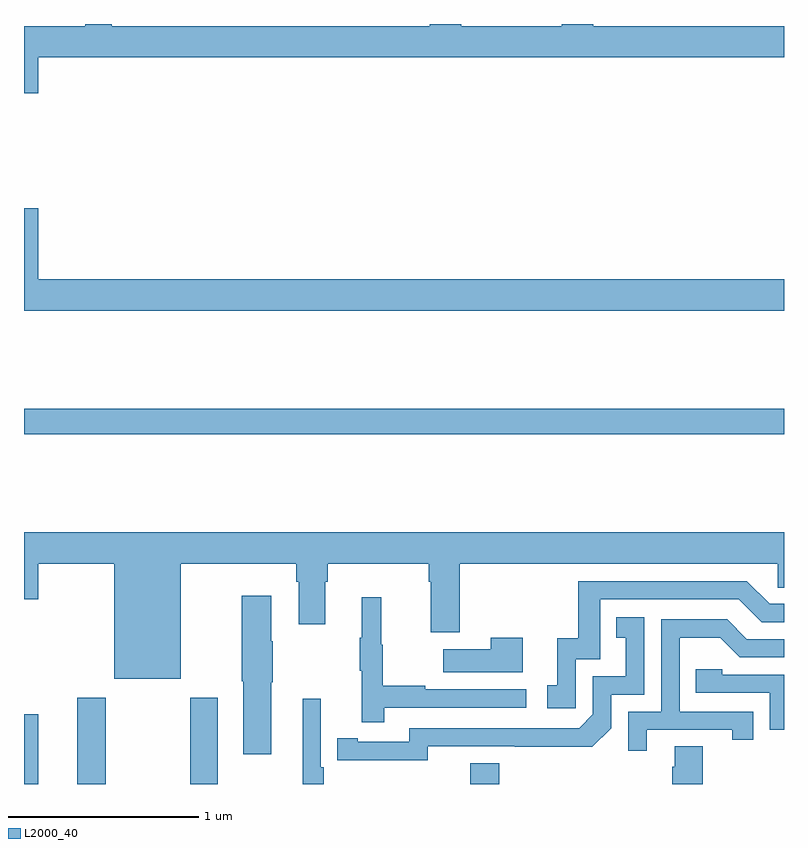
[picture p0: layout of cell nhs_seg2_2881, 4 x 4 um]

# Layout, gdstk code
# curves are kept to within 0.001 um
import gdstk
lib = gdstk.Library(unit=1e-6, precision=1e-09)
def R(c, l, rs):  # rectangles x0, y0, x1, y1
    for r in rs: c.add(gdstk.rectangle(r[:2], r[2:], *l))
def P(c, l, *ps):  # polygons
    for p in ps: c.add(gdstk.Polygon(p, *l))
L2000_40 = (2000, 40)

nhs_seg2_2881 = lib.new_cell('nhs_seg2_2881')
R(nhs_seg2_2881, L2000_40, [(261,655.8,261.076,656.167), (261.281,655.8,261.429,656.254), (261.874,655.8,262.021,656.254), (263.348,655.8,263.501,655.909), (261,657.64,265,657.776)])
P(nhs_seg2_2881, L2000_40, [(261.076,659.624),(265,659.624),(265,659.788),(263.996,659.788),(263.996,659.8),(263.831,659.8),(263.831,659.788),(263.3,659.788),(263.3,659.8),(263.135,659.8),(263.135,659.788),(261.462,659.788),(261.462,659.8),(261.323,659.8),(261.323,659.788),(261,659.788),(261,659.436),(261.076,659.436)],
  [(265,658.456),(261.076,658.456),(261.076,658.831),(261,658.831),(261,658.292),(265,658.292)],
  [(261.826,656.96),(262.433,656.96),(262.433,656.864),(262.445,656.864),(262.445,656.64),(262.585,656.64),(262.585,656.864),(262.598,656.864),(262.598,656.96),(263.129,656.96),(263.129,656.864),(263.141,656.864),(263.141,656.598),(263.294,656.598),(263.294,656.96),(264.966,656.96),(264.966,656.833),(265,656.833),(265,657.124),(261,657.124),(261,656.772),(261.076,656.772),(261.076,656.96),(261.476,656.96),(261.476,656.354),(261.826,656.354)],
  [(263.904,656.457),(264.033,656.457),(264.033,656.772),(264.762,656.772),(264.882,656.652),(265,656.652),(265,656.748),(264.924,656.748),(264.804,656.868),(263.917,656.868),(263.917,656.566),(263.807,656.566),(263.807,656.319),(263.754,656.319),(263.754,656.199),(263.904,656.199)],
  [(262.3,656.335),(262.308,656.335),(262.308,656.552),(262.3,656.552),(262.3,656.791),(262.147,656.791),(262.147,656.341),(262.154,656.341),(262.154,655.956),(262.3,655.956)],
  [(262.895,656.202),(263.644,656.202),(263.644,656.298),(263.111,656.298),(263.111,656.318),(262.888,656.318),(262.888,656.532),(262.88,656.532),(262.88,656.782),(262.778,656.782),(262.778,656.569),(262.767,656.569),(262.767,656.395),(262.778,656.395),(262.778,656.124),(262.895,656.124)],
  [(263.124,655.998),(263.992,655.997),(264.09,656.094),(264.09,656.271),(264.264,656.271),(264.264,656.677),(264.118,656.677),(264.118,656.571),(264.167,656.571),(264.167,656.367),(263.994,656.367),(263.994,656.166),(263.922,656.094),(263.028,656.094),(263.028,656.022),(262.756,656.022),(262.756,656.042),(262.648,656.042),(262.648,655.926),(263.124,655.925)],
  [(264.277,656.085),(264.728,656.085),(264.728,656.034),(264.839,656.034),(264.839,656.181),(264.45,656.181),(264.45,656.57),(264.664,656.57),(264.768,656.466),(265,656.466),(265,656.562),(264.805,656.562),(264.7,656.667),(264.354,656.667),(264.354,656.181),(264.18,656.181),(264.18,655.974),(264.277,655.974)],
  [(263.626,656.569),(263.456,656.569),(263.456,656.509),(263.207,656.509),(263.207,656.387),(263.626,656.387)],
  [(265,656.376),(264.675,656.376),(264.675,656.403),(264.535,656.403),(264.535,656.28),(264.924,656.28),(264.924,656.085),(265,656.085)],
  [(262.577,655.888),(262.563,655.888),(262.563,656.248),(262.466,656.248),(262.466,655.8),(262.577,655.8)],
  [(264.573,656),(264.425,656),(264.425,655.89),(264.413,655.89),(264.413,655.8),(264.573,655.8)])

lib.write_gds('nhs_seg2_2881.gds')
